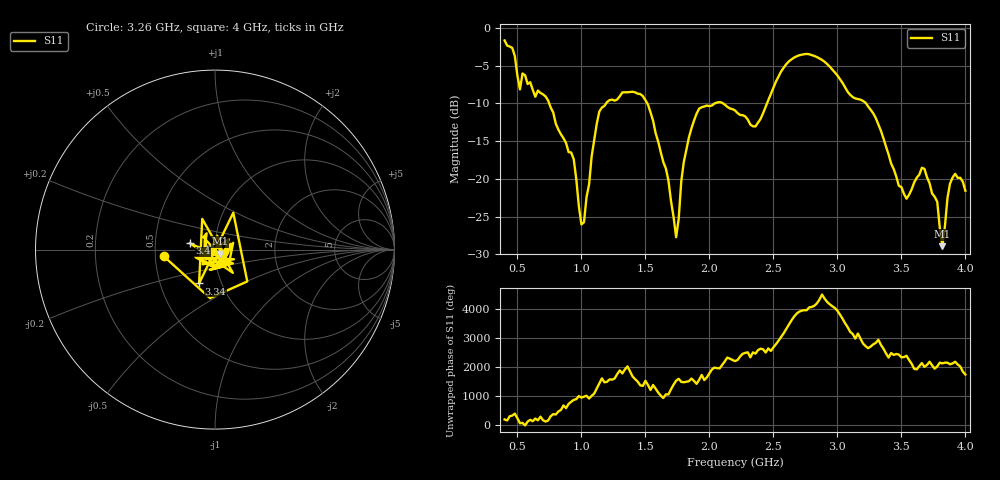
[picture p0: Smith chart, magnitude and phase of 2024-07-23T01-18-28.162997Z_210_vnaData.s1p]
!Created with skrf (http://scikit-rf.org).
# Hz S RI R 50.0
!freq ReS11 ImS11
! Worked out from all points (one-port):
!   181 points, 400 MHz to 4 GHz, reference 50 ohm
!   lowest |S11| = -28.9 dB at 3.82 GHz (marker M1), VSWR 1.07, Z = 52.9 - j2.32 ohm
!   |S11| at or under -10 dB: 748.4 MHz to 1.193 GHz (444.5 MHz wide, 45.8 % of centre); 1.515 GHz to 2.042 GHz (526.7 MHz wide, 29.6 % of centre); 3.224 GHz to end of sweep (the widest 3 of 4)
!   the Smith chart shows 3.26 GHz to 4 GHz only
!   S11 on the Smith chart (normalised r, x): 3.26 GHz: 0.56, -0.05; 3.34 GHz: 0.78, -0.31; 3.4 GHz: 0.75, +0.06; 4 GHz: 1.06, -0.16
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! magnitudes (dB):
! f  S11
! 400 MHz  -1.7
! 460 MHz  -2.6
! 520 MHz  -8.1
! 720 MHz  -9.1
! 860 MHz  -14.6
! 940 MHz  -17.4
! 1 GHz  -26.0
! 1.14 GHz  -11.1
! 1.3 GHz  -9.0
! 1.52 GHz  -10.2
! 1.68 GHz  -20.2
! 1.74 GHz  -27.7
! 1.76 GHz  -25.3
! 1.8 GHz  -17.8
! 1.92 GHz  -10.7
! 2.2 GHz  -10.9
! 2.36 GHz  -13.0
! 2.66 GHz  -3.9
! 3.1 GHz  -8.9
! 3.26 GHz  -10.8
! 3.34 GHz  -13.6
! 3.4 GHz  -16.8
! 3.56 GHz  -22.1
! 3.68 GHz  -18.7
! 3.78 GHz  -23.0
! 3.82 GHz  -28.9
! 3.88 GHz  -20.6
! 4 GHz  -21.6
